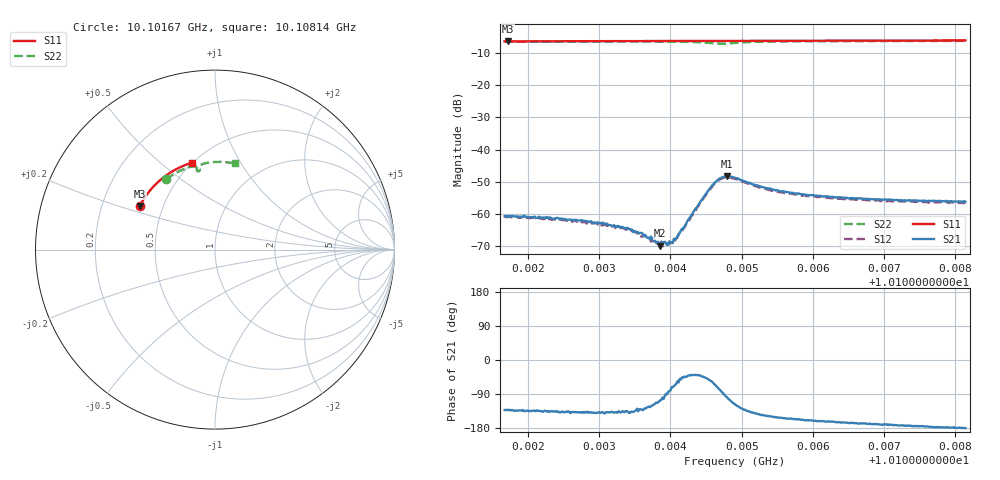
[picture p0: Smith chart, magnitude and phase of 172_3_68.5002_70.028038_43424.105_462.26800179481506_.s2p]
#  HZ  S  RI  R  50.00
! Rohde & Schwarz Vector Network Analyzer
! Rohde-Schwarz,ZNB20-2Port,1311601062101988,3.16
! Created: UTC 3/20/2024, 4:56:15 PM
! freq[Hz]  re:S11  im:S11  re:S21  im:S21  re:S12  im:S12  re:S22  im:S22
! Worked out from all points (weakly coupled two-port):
!   401 points, 10.10167 GHz to 10.10814 GHz, reference 50 ohm
!   highest |S21| = -48.28 dB at 10.10479 GHz (marker M1); lowest = -69.9 dB at 10.10386 GHz (marker M2)
!   lowest |S11| = -6.3 dB at 10.10172 GHz (marker M3), VSWR 2.88, Z = 18.5 + j11.7 ohm
!   |S11| at or under -10 dB: nowhere
!   |S22| runs from -7.0 to -6.1 dB; largest |S21 - S12| = 0.0004
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1.0101671e10  -0.42 0.2408  -0.00061 -0.00068  -0.000554 -0.000707  -0.272 0.3915
1.010172e10  -0.4186 0.2432  -0.000595 -0.000672  -0.000555 -0.000722  -0.2697 0.3931
1.0102755e10  -0.3863 0.2975  -0.000601 -0.000523  -0.000511 -0.000528  -0.2126 0.43
1.0102982e10  -0.3783 0.3087  -0.000552 -0.000485  -0.000462 -0.000497  -0.1993 0.4368
1.0103419e10  -0.362 0.3294  -0.000443 -0.000375  -0.00037 -0.000433  -0.1723 0.4492
1.0103677e10  -0.3518 0.3417  -0.00024 -0.000346  -0.000214 -0.000369  -0.1552 0.4555
1.0103742e10  -0.3491 0.3444  -0.000196 -0.000334  -0.000171 -0.000341  -0.1507 0.4569
1.0103839e10  -0.3451 0.3489  -0.000115 -0.000334  -7.76e-05 -0.000337  -0.1438 0.4588
1.0103855e10  -0.3443 0.3495  -9.25e-05 -0.000305  -9.86e-05 -0.000335  -0.1427 0.4592
1.0103936e10  -0.3411 0.3532  2.43e-06 -0.000347  2.79e-05 -0.000338  -0.1369 0.4606
1.0104001e10  -0.3383 0.356  6.16e-05 -0.000349  0.000119 -0.000324  -0.1318 0.4617
1.0104066e10  -0.3357 0.3588  0.000157 -0.00036  0.000198 -0.000328  -0.1268 0.4624
1.0104179e10  -0.3307 0.3636  0.000398 -0.000419  0.000439 -0.000395  -0.1174 0.4634
1.0104405e10  -0.3208 0.3732  0.0011 -0.000925  0.00114 -0.00084  -0.097 0.4602
1.0104583e10  -0.3129 0.3804  0.00148 -0.0023  0.00158 -0.00208  -0.085 0.4471
1.010468e10  -0.3086 0.3842  0.000847 -0.00337  0.0011 -0.00313  -0.0878 0.4378
1.0104794e10  -0.3033 0.3888  -0.00057 -0.00381  -0.000238 -0.00369  -0.0979 0.4375
1.0104907e10  -0.2983 0.393  -0.00166 -0.00323  -0.00132 -0.00324  -0.1021 0.4476
1.0105457e10  -0.2719 0.4134  -0.00204 -0.00117  -0.00187 -0.00127  -0.0672 0.4774
1.0105991e10  -0.245 0.4315  -0.00181 -0.000685  -0.00167 -0.000787  -0.0298 0.4855
1.0107075e10  -0.1871 0.4621  -0.00163 -0.000282  -0.00152 -0.000409  0.042 0.4883
1.0108142e10  -0.1264 0.4843  -0.00154 -5.89e-06  -0.00147 -0.000143  0.1103 0.4802
